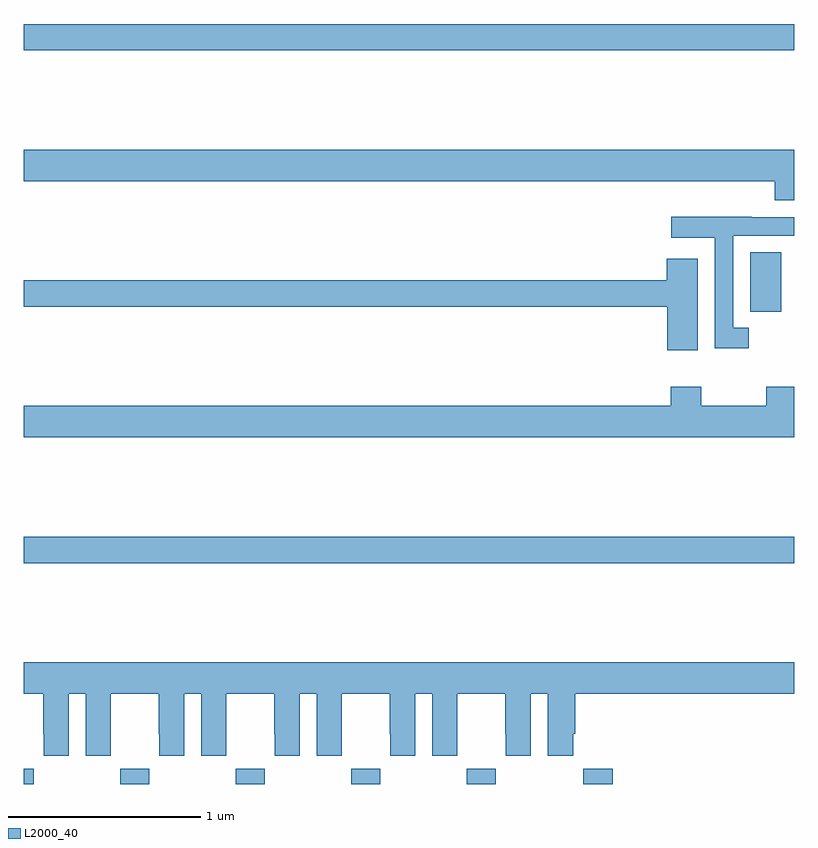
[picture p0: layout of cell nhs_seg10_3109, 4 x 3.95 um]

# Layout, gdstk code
import gdstk
lib = gdstk.Library(unit=1e-6, precision=1e-09)
def R(c, l, rs):  # rectangles x0, y0, x1, y1
    for r in rs: c.add(gdstk.rectangle(r[:2], r[2:], *l))
def A(c, l, x, y, w, h, nx, ny, dx, dy):  # array of equal rectangles
    R(c, l, [(x+i*dx, y+j*dy, x+i*dx+w, y+j*dy+h) for i in range(nx) for j in range(ny)])
def P(c, l, *ps):  # polygons
    for p in ps: c.add(gdstk.Polygon(p, *l))
L2000_40 = (2000, 40)

nhs_seg10_3109 = lib.new_cell('nhs_seg10_3109')
A(nhs_seg10_3109, L2000_40, 279.501, 1314.5, 0.15, 0.08, 4, 1, 0.6, 0)
R(nhs_seg10_3109, L2000_40, [(279,1314.5,279.051,1314.58), (281.905,1314.5,282.059,1314.58), (279,1315.648,283,1315.784), (282.773,1316.952,282.934,1317.263), (279,1318.312,283,1318.448)])
P(nhs_seg10_3109, L2000_40, [(283,1317.796),(279,1317.796),(279,1317.632),(282.899,1317.632),(282.899,1317.533),(283,1317.533)],
  [(282.766,1316.871),(282.684,1316.871),(282.684,1317.348),(283,1317.348),(283,1317.444),(282.781,1317.444),(282.781,1317.446),(282.363,1317.446),(282.363,1317.338),(282.588,1317.338),(282.588,1316.763),(282.766,1316.763)],
  [(282.499,1317.229),(282.338,1317.229),(282.338,1317.116),(279,1317.116),(279,1316.98),(282.341,1316.98),(282.341,1316.754),(282.499,1316.754)],
  [(283,1316.563),(282.856,1316.563),(282.856,1316.464),(282.519,1316.464),(282.519,1316.563),(282.359,1316.563),(282.359,1316.464),(279,1316.464),(279,1316.3),(283,1316.3)],
  [(279.232,1314.968),(279.32,1314.968),(279.32,1314.648),(279.45,1314.648),(279.45,1314.76),(279.451,1314.76),(279.451,1314.968),(279.701,1314.968),(279.701,1314.76),(279.702,1314.76),(279.702,1314.648),(279.832,1314.648),(279.832,1314.968),(279.92,1314.968),(279.92,1314.648),(280.05,1314.648),(280.05,1314.76),(280.051,1314.76),(280.051,1314.968),(280.301,1314.968),(280.301,1314.76),(280.302,1314.76),(280.302,1314.648),(280.432,1314.648),(280.432,1314.968),(280.52,1314.968),(280.52,1314.648),(280.65,1314.648),(280.65,1314.76),(280.651,1314.76),(280.651,1314.968),(280.901,1314.968),(280.901,1314.76),(280.902,1314.76),(280.902,1314.648),(281.032,1314.648),(281.032,1314.968),(281.12,1314.968),(281.12,1314.648),(281.25,1314.648),(281.25,1314.76),(281.251,1314.76),(281.251,1314.968),(281.501,1314.968),(281.501,1314.76),(281.502,1314.76),(281.502,1314.648),(281.632,1314.648),(281.632,1314.968),(281.72,1314.968),(281.72,1314.648),(281.854,1314.648),(281.854,1314.76),(281.864,1314.76),(281.864,1314.968),(283,1314.968),(283,1315.132),(279,1315.132),(279,1314.968),(279.101,1314.968),(279.101,1314.76),(279.102,1314.76),(279.102,1314.648),(279.232,1314.648)])

lib.write_gds('nhs_seg10_3109.gds')
